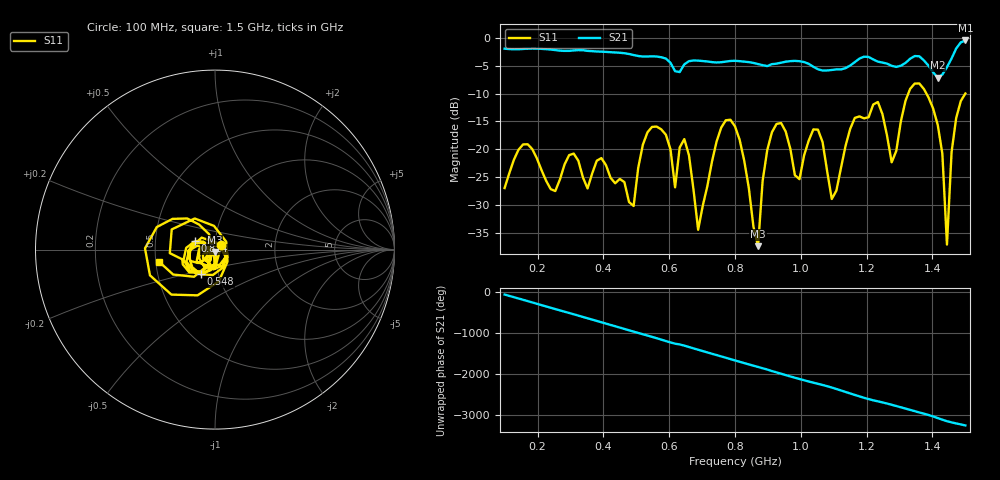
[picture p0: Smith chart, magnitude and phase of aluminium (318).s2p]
! NanoVNA-App
! Date: 2025-09-25 14:57:45
! Start: 100MHz Stop: 1,5GHz Points: 101
! S-Parameter data: F S11 S21 S12 S22
# Hz S RI R 50
!  Frequency  S11_Real  S11_Imag  S21_Real  S21_Imag  S12_Real  S12_Imag  S22_Real  S22_Imag
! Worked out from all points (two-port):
!   101 points, 100 MHz to 1.5 GHz, reference 50 ohm
!   highest |S21| = -0.44 dB at 1.5 GHz (marker M1); lowest = -7.2 dB at 1.416 GHz (marker M2)
!   |S21| within 3 dB of the highest: start of sweep to 574.3 MHz; 1.46 GHz to end of sweep (the widest 2 of 4)
!   lowest |S11| = -37.4 dB at 870 MHz (marker M3), VSWR 1.03, Z = 49.9 - j1.34 ohm
!   |S11| at or under -10 dB: start of sweep to 1.326 GHz; 1.382 GHz to 1.5 GHz (118.1 MHz wide, 8.19 % of centre)
!   S12 and S22 are empty: the file has one direction only
!   S11 on the Smith chart (normalised r, x): 100 MHz: 1.07, +0.06; 548 MHz: 0.82, -0.23; 814 MHz: 0.79, +0.07; 1.5 GHz: 0.52, -0.08
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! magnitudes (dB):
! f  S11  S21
! 100 MHz  -27.0  -1.9
! 338 MHz  -25.0  -2.2
! 492 MHz  -30.2  -3.1
! 548 MHz  -16.0  -3.3
! 576 MHz  -16.4  -3.5
! 618 MHz  -26.8  -6.0
! 646 MHz  -18.2  -4.7
! 688 MHz  -34.4  -4.1
! 800 MHz  -15.9  -4.1
! 814 MHz  -18.3  -4.2
! 870 MHz  -37.4  -4.7
! 912 MHz  -17.0  -4.7
! 996 MHz  -25.4  -4.2
! 1.038 GHz  -16.4  -5.2
! 1.094 GHz  -28.9  -5.7
! 1.22 GHz  -12.0  -3.9
! 1.276 GHz  -22.3  -5.0
! 1.346 GHz  -8.2  -3.2
! 1.416 GHz  -15.6  -7.2
! 1.444 GHz  -37.1  -5.2
! 1.458 GHz  -20.5  -3.7
! 1.5 GHz  -10.0  -0.4
